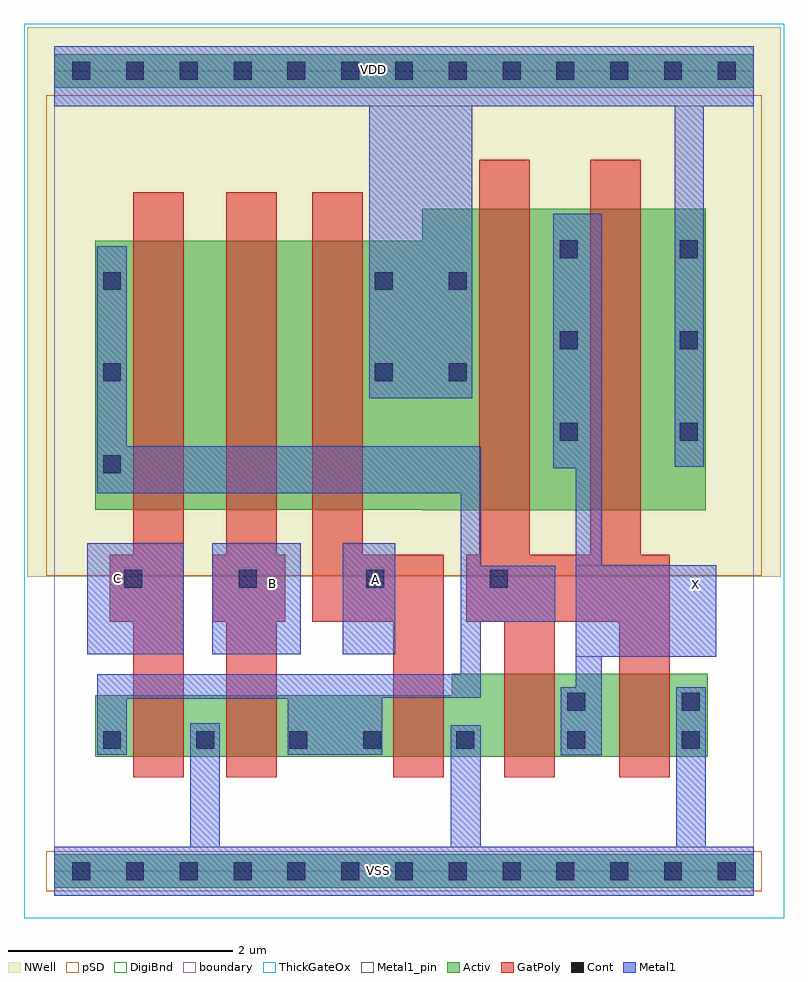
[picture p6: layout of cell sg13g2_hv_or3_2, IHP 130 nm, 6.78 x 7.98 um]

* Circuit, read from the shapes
.subckt sg13g2_hv_or3_2 A B C VDD VSS X
XM1 VSS C n1 VSS sg13_hv_nmos w=0.55u l=0.45u
XM2 n1 B VSS VSS sg13_hv_nmos w=0.55u l=0.45u
XM3 VSS A n1 VSS sg13_hv_nmos w=0.55u l=0.45u
XM4 X n1 VSS VSS sg13_hv_nmos w=0.74u l=0.45u m=2
XM5 n2 C n1 VDD sg13_hv_pmos w=2.4u l=0.45u
XM6 n3 B n2 VDD sg13_hv_pmos w=2.4u l=0.45u
XM7 VDD A n3 VDD sg13_hv_pmos w=2.4u l=0.45u
XM8 X n1 VDD VDD sg13_hv_pmos w=2.69u l=0.45u m=2
.ends

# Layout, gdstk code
import gdstk
lib = gdstk.Library(unit=1e-6, precision=1e-09)
def R(c, l, rs):  # rectangles x0, y0, x1, y1
    for r in rs: c.add(gdstk.rectangle(r[:2], r[2:], *l))
def A(c, l, x, y, w, h, nx, ny, dx, dy):  # array of equal rectangles
    R(c, l, [(x+i*dx, y+j*dy, x+i*dx+w, y+j*dy+h) for i in range(nx) for j in range(ny)])
def P(c, l, *ps):  # polygons
    for p in ps: c.add(gdstk.Polygon(p, *l))
Activ = (1, 0)
GatPoly = (5, 0)
Cont = (6, 0)
Metal1 = (8, 0)
Metal1_pin = (8, 2)
pSD = (14, 0)
DigiBnd = (16, 0)
NWell = (31, 0)
ThickGateOx = (44, 0)
boundary = (189, 4)

sg13g2_hv_or3_2 = lib.new_cell('sg13g2_hv_or3_2')
R(sg13g2_hv_or3_2, Activ, [(0,-0.15,6.24,0.15), (0,6.99,6.24,7.29)])
P(sg13g2_hv_or3_2, Activ, [(0.365,1.02),(0.365,1.57),(3.545,1.57),(3.545,1.76),(5.83,1.76),(5.83,1.02)],
  [(3.285,3.22),(3.285,3.225),(0.365,3.225),(0.365,5.625),(3.285,5.625),(3.285,5.91),(5.81,5.91),(5.81,3.22)])
P(sg13g2_hv_or3_2, GatPoly, [(4.015,0.84),(4.015,2.225),(3.675,2.225),(3.675,2.825),(3.79,2.825),(3.79,6.345),(4.24,6.345),(4.24,2.825),(4.78,2.825),(4.78,6.345),(5.23,6.345),(5.23,2.825),(5.49,2.825),(5.49,0.84),(5.04,0.84),(5.04,2.225),(4.465,2.225),(4.465,0.84)],
  [(0.705,0.84),(0.705,2.225),(0.495,2.225),(0.495,2.825),(0.705,2.825),(0.705,6.055),(1.155,6.055),(1.155,0.84)],
  [(3.025,0.84),(3.025,2.225),(2.3,2.225),(2.3,6.055),(2.75,6.055),(2.75,2.825),(3.475,2.825),(3.475,0.84)],
  [(1.535,0.84),(1.535,2.225),(1.41,2.225),(1.41,2.825),(1.535,2.825),(1.535,6.055),(1.985,6.055),(1.985,2.825),(2.06,2.825),(2.06,2.225),(1.985,2.225),(1.985,0.84)])
A(sg13g2_hv_or3_2, Cont, 0.16, -0.08, 0.16, 0.16, 13, 2, 0.48, 7.14)
A(sg13g2_hv_or3_2, Cont, 0.435, 1.09, 0.16, 0.16, 3, 1, 0.83, 0)
A(sg13g2_hv_or3_2, Cont, 4.51, 3.84, 0.16, 0.16, 1, 3, 0, 0.815)
A(sg13g2_hv_or3_2, Cont, 5.58, 3.84, 0.16, 0.16, 1, 3, 0, 0.815)
R(sg13g2_hv_or3_2, Cont, [(2.755,1.09,2.915,1.25), (3.585,1.09,3.745,1.25), (4.575,1.09,4.735,1.25), (5.6,1.09,5.76,1.25), (4.575,1.43,4.735,1.59), (5.6,1.43,5.76,1.59), (0.625,2.53,0.785,2.69), (1.645,2.53,1.805,2.69), (2.785,2.53,2.945,2.69), (3.885,2.53,4.045,2.69), (0.435,3.55,0.595,3.71), (0.435,4.37,0.595,4.53), (2.86,4.37,3.02,4.53), (3.52,4.37,3.68,4.53), (0.435,5.185,0.595,5.345), (2.86,5.185,3.02,5.345), (3.52,5.185,3.68,5.345)])
R(sg13g2_hv_or3_2, Metal1, [(0.295,1.935,1.155,2.925), (1.41,1.935,2.2,2.925), (2.575,1.935,3.04,2.925)])
P(sg13g2_hv_or3_2, Metal1, [(0,-0.22),(0,0.22),(1.215,0.22),(1.215,1.32),(1.475,1.32),(1.475,0.22),(3.535,0.22),(3.535,1.3),(3.805,1.3),(3.805,0.22),(5.55,0.22),(5.55,1.64),(5.81,1.64),(5.81,0.22),(6.24,0.22),(6.24,-0.22)],
  [(4.52,1.035),(4.52,1.64),(4.65,1.64),(4.65,3.595),(4.45,3.595),(4.45,5.865),(4.885,5.865),(4.885,2.73),(5.905,2.73),(5.905,1.915),(4.885,1.915),(4.885,1.035)],
  [(5.535,3.61),(5.535,6.825),(3.73,6.825),(3.73,4.22),(2.81,4.22),(2.81,6.825),(0,6.825),(0,7.36),(6.24,7.36),(6.24,6.825),(5.795,6.825),(5.795,3.61)],
  [(0.385,1.04),(0.385,1.755),(3.625,1.755),(3.625,3.37),(0.385,3.37),(0.385,5.575),(0.645,5.575),(0.645,3.79),(3.805,3.79),(3.805,2.725),(4.47,2.725),(4.47,2.225),(3.805,2.225),(3.805,1.545),(2.925,1.545),(2.925,1.04),(2.085,1.04),(2.085,1.54),(0.645,1.54),(0.645,1.04)])
R(sg13g2_hv_or3_2, Metal1_pin, [(0,-0.22,6.24,0.22), (4.65,1.915,5.905,2.73), (0.295,1.935,1.155,2.925), (1.41,1.935,2.2,2.925), (2.575,1.935,3.04,2.925), (0,6.825,6.24,7.36)])
R(sg13g2_hv_or3_2, pSD, [(-0.07,-0.18,6.31,0.18), (-0.07,2.635,6.31,6.92)])
R(sg13g2_hv_or3_2, DigiBnd, [(0,0,6.24,7.14)])
R(sg13g2_hv_or3_2, NWell, [(-0.24,2.625,6.48,7.53)])
R(sg13g2_hv_or3_2, ThickGateOx, [(-0.27,-0.42,6.51,7.56)])
R(sg13g2_hv_or3_2, boundary, [(0,0,6.24,7.14)])
sg13g2_hv_or3_2.add(gdstk.Label('VDD', (2.845,7.15), layer=8, texttype=25))
sg13g2_hv_or3_2.add(gdstk.Label('VSS', (2.89,0.005), layer=8, texttype=25))
sg13g2_hv_or3_2.add(gdstk.Label('C', (0.565,2.61), layer=8, texttype=25))
sg13g2_hv_or3_2.add(gdstk.Label('B', (1.95,2.57), layer=8, texttype=25))
sg13g2_hv_or3_2.add(gdstk.Label('A', (2.87,2.6), layer=8, texttype=25))
sg13g2_hv_or3_2.add(gdstk.Label('X', (5.72,2.555), layer=8, texttype=25))

lib.write_gds('sg13g2_hv_or3_2.gds')
